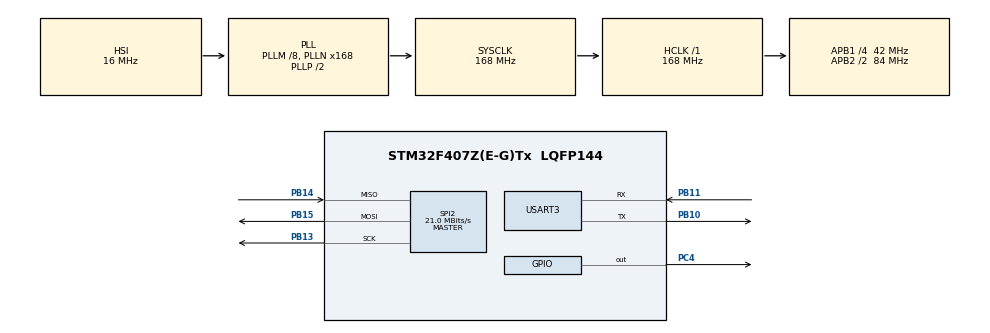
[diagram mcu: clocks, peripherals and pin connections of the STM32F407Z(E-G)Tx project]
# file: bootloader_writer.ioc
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Mcu.Family=STM32F4
Mcu.Name=STM32F407Z(E-G)Tx
Mcu.Package=LQFP144
NVIC.PriorityGroup=NVIC_PRIORITYGROUP_4
NVIC.USART3_IRQn=true\:1\:0\:true\:false\:true\:true\:true\:true
PB10.Mode=Asynchronous
PB10.Signal=USART3_TX
PB11.Mode=Asynchronous
PB11.Signal=USART3_RX
PB13.Mode=Full_Duplex_Master
PB13.Signal=SPI2_SCK
PB14.Mode=Full_Duplex_Master
PB14.Signal=SPI2_MISO
PB15.Mode=Full_Duplex_Master
PB15.Signal=SPI2_MOSI
PC4.Signal=GPIO_Output
PH0-OSC_IN.Mode=HSE-External-Oscillator
PH0-OSC_IN.Signal=RCC_OSC_IN
PH1-OSC_OUT.Mode=HSE-External-Oscillator
PH1-OSC_OUT.Signal=RCC_OSC_OUT
ProjectManager.HeapSize=0x200
ProjectManager.StackSize=0x400
ProjectManager.TargetToolchain=STM32CubeIDE
RCC.48MHZClocksFreq_Value=84000000
RCC.AHBFreq_Value=168000000
RCC.APB1CLKDivider=RCC_HCLK_DIV4
RCC.APB1Freq_Value=42000000
RCC.APB1TimFreq_Value=84000000
RCC.APB2CLKDivider=RCC_HCLK_DIV2
RCC.APB2Freq_Value=84000000
RCC.APB2TimFreq_Value=168000000
RCC.CortexFreq_Value=168000000
RCC.HCLKFreq_Value=168000000
RCC.HSE_VALUE=25000000
RCC.HSI_VALUE=16000000
RCC.LSE_VALUE=32768
RCC.PLLM=8
RCC.PLLN=168
RCC.SYSCLKFreq_VALUE=168000000
RCC.SYSCLKSource=RCC_SYSCLKSOURCE_PLLCLK
RCC.VCOOutputFreq_Value=336000000
SPI2.CalculateBaudRate=21.0 MBits/s
SPI2.Direction=SPI_DIRECTION_2LINES
SPI2.Mode=SPI_MODE_MASTER
SPI2.VirtualType=VM_MASTER
USART3.VirtualMode=VM_ASYNC
board=custom

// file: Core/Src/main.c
/* USER CODE BEGIN Header */
/**
  ******************************************************************************
  * @file           : main.c
  * @brief          : Main program body
  ******************************************************************************
  * @attention
  *
  * Copyright (c) 2025 STMicroelectronics.
  * All rights reserved.
  *
  * This software is licensed under terms that can be found in the LICENSE file
  * in the root directory of this software component.
  * If no LICENSE file comes with this software, it is provided AS-IS.
  *
  ******************************************************************************
  */
/* USER CODE END Header */
#include "main.h"

/* USER CODE BEGIN Includes */
#include "W25Qxx.h"		//Library for working with W25Q
#include "stdio.h"
#include "string.h"
/* USER CODE END Includes */

/* USER CODE BEGIN PD */
#define CHUNKSIZE 				1024
#define FIRMWARE1_BASE_ADDR 	0x08008000
#define FIRMWARE2_BASE_ADDR 	0x08040000

#define ALLOCATED_SIZE			512	//512 KB for each Application (2048 pages or 128 sector)
#define SECTOR_FIRMWARE1		0
#define SECTOR_FIRMWARE2		128
#define ALLOCATED_SECTOR		20

#define FIRMWARE1_SIZE			8428
#define FIRMWARE2_SIZE			8428

#define FIRMWARE1_PAGE_W25Q		0
#define FIRMWARE2_PAGE_W25Q		2048

/* USER CODE END PD */

SPI_HandleTypeDef hspi2;

UART_HandleTypeDef huart3;

/* USER CODE BEGIN PV */
uint8_t MCUFLASHREAD[CHUNKSIZE];
uint8_t USART_CMD_REC[2];
uint8_t	CommandNumber = 0;

/* USER CODE END PV */

void SystemClock_Config(void);
static void MX_GPIO_Init(void);
static void MX_SPI2_Init(void);
static void MX_USART3_UART_Init(void);
/* USER CODE BEGIN PFP */

/*
 * ***********************************************************
 * Function to Read program data from flash memory of STM32
 * and write it into the W25Q flash memory
 * ***********************************************************
 * */
void WRITE_TO_FLASHW25Q(uint32_t AppAddress, uint32_t W25QPageAddress, int32_t FirmwareSize){

	int32_t bytesremains = FirmwareSize;
	uint32_t flashAddress = AppAddress;
	uint32_t pageAddress = W25QPageAddress;
	uint32_t SectorOffset = 0;
	// Sector offset for storing firmwares
	if(AppAddress == FIRMWARE1_BASE_ADDR){
		SectorOffset = SECTOR_FIRMWARE1;
	}
	else if(AppAddress == FIRMWARE2_BASE_ADDR){
		SectorOffset = SECTOR_FIRMWARE2;
	}

	// Erasing allocated sectors to the firmware
	for(uint32_t j=0; j < ALLOCATED_SECTOR; j++){
		W25Q_Erase_Sector(SectorOffset +j);
	}

	//Writing Flash program on W25Q
	while(bytesremains > 0){
		HAL_FLASH_Unlock();
		for(uint32_t i=0; i < CHUNKSIZE; i++){
			MCUFLASHREAD[i] = *(__IO uint8_t*)flashAddress; // Reading each address of flash and store it in an array
			flashAddress++;
		}
		HAL_FLASH_Lock();
		W25Q_Write_Page(pageAddress, 0, CHUNKSIZE, MCUFLASHREAD); //writing data on the flash
		pageAddress += 4;			//increasing the pagenumber by 4 (each chunk is 1028 that is 4*256 (each page is 256 bytes)
		bytesremains -= CHUNKSIZE;	//subtract chunk from remained data to transfer

	}

	HAL_UART_Transmit(&huart3, (uint8_t *)"Writing Done\n", 14, 100);

}

/*
 * ***********************************************************
 * Function to Read program data from W25Q
 * and write it into the flash memory of STM32
 * ***********************************************************
 * */
void WRITE_FROM_W25_TO_MCU(uint32_t AppAddress, uint32_t W25QPageAddress, int32_t FirmwareSize){

	int32_t bytesremains = FirmwareSize;
	uint32_t flashAddress = AppAddress;
	uint32_t pageAddress = W25QPageAddress;
	while(bytesremains > 0){
		W25Q_FastRead(pageAddress, 0, CHUNKSIZE, MCUFLASHREAD);
		HAL_FLASH_Unlock();
		for(uint32_t i=0; i < CHUNKSIZE; i++){
			HAL_FLASH_Program(FLASH_TYPEPROGRAM_BYTE, flashAddress, MCUFLASHREAD[i]);
			flashAddress++;
		}
		HAL_FLASH_Lock();
		pageAddress += 4;
		bytesremains -= CHUNKSIZE;
	}
	HAL_UART_Transmit(&huart3, (uint8_t *)"Reading Done\n", 14, 100);
}

/*
 * ***********************************************************
 * USART Function for reading command for READ/WRITE
 * W1: write firmware1 to W25Q
 * W2: write firmware2 to W25Q
 * R1: Read firmware1 from W25Q and program Flash of the MCU
 * R2: Read firmware2 from W25Q and program Flash of the MCU
 * ***********************************************************
 * */
void HAL_UART_RxCpltCallback(UART_HandleTypeDef *huart)
{
	if(huart->Instance == USART3){
		if(USART_CMD_REC[0] == 'R'){
			switch(USART_CMD_REC[1]){
			case '1':
				WRITE_FROM_W25_TO_MCU(FIRMWARE1_BASE_ADDR, FIRMWARE1_PAGE_W25Q, FIRMWARE1_SIZE);
				break;
			case '2':
				WRITE_FROM_W25_TO_MCU(FIRMWARE2_BASE_ADDR, FIRMWARE2_PAGE_W25Q, FIRMWARE2_SIZE);
				break;
			default:
				HAL_UART_Transmit(&huart3, (uint8_t *)"Please Send correct command\n", 29, 100);
			}

		}
		else if(USART_CMD_REC[0] == 'W'){
			switch(USART_CMD_REC[1]){
			case '1':
				WRITE_TO_FLASHW25Q(FIRMWARE1_BASE_ADDR, FIRMWARE1_PAGE_W25Q, FIRMWARE1_SIZE);
				break;
			case '2':
				WRITE_TO_FLASHW25Q(FIRMWARE2_BASE_ADDR, FIRMWARE2_PAGE_W25Q, FIRMWARE2_SIZE);
				break;
			default:
				HAL_UART_Transmit(&huart3, (uint8_t *)"Please Send correct command\n", 29, 100);
			}

		}
		HAL_UART_Receive_IT(&huart3, USART_CMD_REC, 2);
	}
}

/* USER CODE END PFP */

int main(void)
{

  /* MCU Configuration--------------------------------------------------------*/

  /* Reset of all peripherals, Initializes the Flash interface and the Systick. */
  HAL_Init();

  /* Configure the system clock */
  SystemClock_Config();

  /* Initialize all configured peripherals */
  MX_GPIO_Init();
  MX_SPI2_Init();
  MX_USART3_UART_Init();
  /* USER CODE BEGIN 2 */
  W25Q_Reset();
  __HAL_UART_ENABLE_IT(&huart3, UART_IT_RXNE);
  HAL_UART_Transmit(&huart3, (uint8_t *)"Choose a command (R/W)(1/2)?", 29, 100);
  HAL_UART_Receive_IT(&huart3, USART_CMD_REC, 2);
  /* USER CODE END 2 */

  /* Infinite loop */
  while (1)
  {

  }
}

void SystemClock_Config(void)
{
  RCC_OscInitTypeDef RCC_OscInitStruct = {0};
  RCC_ClkInitTypeDef RCC_ClkInitStruct = {0};

  /** Configure the main internal regulator output voltage
  */
  __HAL_RCC_PWR_CLK_ENABLE();
  __HAL_PWR_VOLTAGESCALING_CONFIG(PWR_REGULATOR_VOLTAGE_SCALE1);

  /** Initializes the RCC Oscillators according to the specified parameters
  * in the RCC_OscInitTypeDef structure.
  */
  RCC_OscInitStruct.OscillatorType = RCC_OSCILLATORTYPE_HSI;
  RCC_OscInitStruct.HSIState = RCC_HSI_ON;
  RCC_OscInitStruct.HSICalibrationValue = RCC_HSICALIBRATION_DEFAULT;
  RCC_OscInitStruct.PLL.PLLState = RCC_PLL_ON;
  RCC_OscInitStruct.PLL.PLLSource = RCC_PLLSOURCE_HSI;
  RCC_OscInitStruct.PLL.PLLM = 8;
  RCC_OscInitStruct.PLL.PLLN = 168;
  RCC_OscInitStruct.PLL.PLLP = RCC_PLLP_DIV2;
  RCC_OscInitStruct.PLL.PLLQ = 4;
  if (HAL_RCC_OscConfig(&RCC_OscInitStruct) != HAL_OK)
  {
    Error_Handler();
  }

  /** Initializes the CPU, AHB and APB buses clocks
  */
  RCC_ClkInitStruct.ClockType = RCC_CLOCKTYPE_HCLK|RCC_CLOCKTYPE_SYSCLK
                              |RCC_CLOCKTYPE_PCLK1|RCC_CLOCKTYPE_PCLK2;
  RCC_ClkInitStruct.SYSCLKSource = RCC_SYSCLKSOURCE_PLLCLK;
  RCC_ClkInitStruct.AHBCLKDivider = RCC_SYSCLK_DIV1;
  RCC_ClkInitStruct.APB1CLKDivider = RCC_HCLK_DIV4;
  RCC_ClkInitStruct.APB2CLKDivider = RCC_HCLK_DIV2;

  if (HAL_RCC_ClockConfig(&RCC_ClkInitStruct, FLASH_LATENCY_5) != HAL_OK)
  {
    Error_Handler();
  }
}

static void MX_SPI2_Init(void)
{

  /* SPI2 parameter configuration*/
  hspi2.Instance = SPI2;
  hspi2.Init.Mode = SPI_MODE_MASTER;
  hspi2.Init.Direction = SPI_DIRECTION_2LINES;
  hspi2.Init.DataSize = SPI_DATASIZE_8BIT;
  hspi2.Init.CLKPolarity = SPI_POLARITY_LOW;
  hspi2.Init.CLKPhase = SPI_PHASE_1EDGE;
  hspi2.Init.NSS = SPI_NSS_SOFT;
  hspi2.Init.BaudRatePrescaler = SPI_BAUDRATEPRESCALER_2;
  hspi2.Init.FirstBit = SPI_FIRSTBIT_MSB;
  hspi2.Init.TIMode = SPI_TIMODE_DISABLE;
  hspi2.Init.CRCCalculation = SPI_CRCCALCULATION_DISABLE;
  hspi2.Init.CRCPolynomial = 10;
  if (HAL_SPI_Init(&hspi2) != HAL_OK)
  {
    Error_Handler();
  }

}

static void MX_USART3_UART_Init(void)
{

  huart3.Instance = USART3;
  huart3.Init.BaudRate = 115200;
  huart3.Init.WordLength = UART_WORDLENGTH_8B;
  huart3.Init.StopBits = UART_STOPBITS_1;
  huart3.Init.Parity = UART_PARITY_NONE;
  huart3.Init.Mode = UART_MODE_TX_RX;
  huart3.Init.HwFlowCtl = UART_HWCONTROL_NONE;
  huart3.Init.OverSampling = UART_OVERSAMPLING_16;
  if (HAL_UART_Init(&huart3) != HAL_OK)
  {
    Error_Handler();
  }

}

static void MX_GPIO_Init(void)
{
  GPIO_InitTypeDef GPIO_InitStruct = {0};

  /* GPIO Ports Clock Enable */
  __HAL_RCC_GPIOH_CLK_ENABLE();
  __HAL_RCC_GPIOC_CLK_ENABLE();
  __HAL_RCC_GPIOB_CLK_ENABLE();

  /*Configure GPIO pin Output Level */
  HAL_GPIO_WritePin(GPIOC, GPIO_PIN_4, GPIO_PIN_RESET);

  /*Configure GPIO pin : PC4 */
  GPIO_InitStruct.Pin = GPIO_PIN_4;
  GPIO_InitStruct.Mode = GPIO_MODE_OUTPUT_PP;
  GPIO_InitStruct.Pull = GPIO_NOPULL;
  GPIO_InitStruct.Speed = GPIO_SPEED_FREQ_LOW;
  HAL_GPIO_Init(GPIOC, &GPIO_InitStruct);

}

void Error_Handler(void)
{
  __disable_irq();
  while (1)
  {
  }
}
